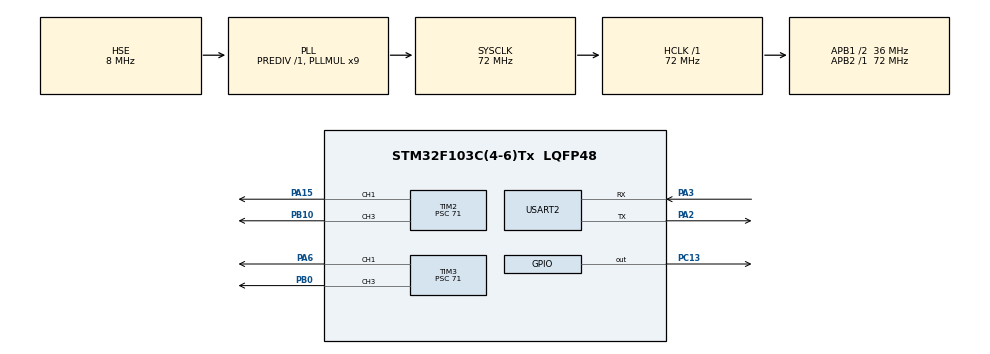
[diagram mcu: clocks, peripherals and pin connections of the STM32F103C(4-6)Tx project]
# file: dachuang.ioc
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Mcu.Family=STM32F1
Mcu.Name=STM32F103C(4-6)Tx
Mcu.Package=LQFP48
NVIC.PriorityGroup=NVIC_PRIORITYGROUP_4
NVIC.USART2_IRQn=true\:0\:0\:false\:false\:true\:true\:true\:true
PA13.Mode=Serial_Wire
PA13.Signal=SYS_JTMS-SWDIO
PA14.Mode=Serial_Wire
PA14.Signal=SYS_JTCK-SWCLK
PA15.Signal=S_TIM2_CH1_ETR
PA2.Mode=Asynchronous
PA2.Signal=USART2_TX
PA3.Mode=Asynchronous
PA3.Signal=USART2_RX
PA6.Signal=S_TIM3_CH1
PB0.Signal=S_TIM3_CH3
PB10.Signal=S_TIM2_CH3
PC13-TAMPER-RTC.Signal=GPIO_Output
PC14-OSC32_IN.Mode=LSE-External-Oscillator
PC14-OSC32_IN.Signal=RCC_OSC32_IN
PC15-OSC32_OUT.Mode=LSE-External-Oscillator
PC15-OSC32_OUT.Signal=RCC_OSC32_OUT
PD0-OSC_IN.Mode=HSE-External-Oscillator
PD0-OSC_IN.Signal=RCC_OSC_IN
PD1-OSC_OUT.Mode=HSE-External-Oscillator
PD1-OSC_OUT.Signal=RCC_OSC_OUT
ProjectManager.HeapSize=0x200
ProjectManager.StackSize=0x400
ProjectManager.TargetToolchain=CMake
RCC.AHBFreq_Value=72000000
RCC.APB1CLKDivider=RCC_HCLK_DIV2
RCC.APB1Freq_Value=36000000
RCC.APB1TimFreq_Value=72000000
RCC.APB2Freq_Value=72000000
RCC.APB2TimFreq_Value=72000000
RCC.HCLKFreq_Value=72000000
RCC.PLLMUL=RCC_PLL_MUL9
RCC.PLLSourceVirtual=RCC_PLLSOURCE_HSE
RCC.SYSCLKFreq_VALUE=72000000
RCC.SYSCLKSource=RCC_SYSCLKSOURCE_PLLCLK
RCC.USBFreq_Value=72000000
SH.S_TIM2_CH1_ETR.0=TIM2_CH1,PWM Generation1 CH1
SH.S_TIM2_CH3.0=TIM2_CH3,PWM Generation3 CH3
SH.S_TIM3_CH1.0=TIM3_CH1,PWM Generation1 CH1
SH.S_TIM3_CH3.0=TIM3_CH3,PWM Generation3 CH3
TIM2.AutoReloadPreload=TIM_AUTORELOAD_PRELOAD_ENABLE
TIM2.Channel-PWM\ Generation1\ CH1=TIM_CHANNEL_1
TIM2.Channel-PWM\ Generation3\ CH3=TIM_CHANNEL_3
TIM2.Period=19999
TIM2.Prescaler=71
TIM3.AutoReloadPreload=TIM_AUTORELOAD_PRELOAD_ENABLE
TIM3.Channel-PWM\ Generation1\ CH1=TIM_CHANNEL_1
TIM3.Channel-PWM\ Generation3\ CH3=TIM_CHANNEL_3
TIM3.Period=19999
TIM3.Prescaler=71
USART2.VirtualMode=VM_ASYNC
VP_TIM2_VS_ClockSourceINT.Mode=Internal
VP_TIM3_VS_ClockSourceINT.Mode=Internal
board=custom

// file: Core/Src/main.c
/* USER CODE BEGIN Header */
/**
  ******************************************************************************
  * @file           : main.c
  * @brief          : Main program body
  ******************************************************************************
  * @attention
  *
  * Copyright (c) 2026 STMicroelectronics.
  * All rights reserved.
  *
  * This software is licensed under terms that can be found in the LICENSE file
  * in the root directory of this software component.
  * If no LICENSE file comes with this software, it is provided AS-IS.
  *
  ******************************************************************************
  */
/* USER CODE END Header */
#include "main.h"
#include "tim.h"
#include "usart.h"
#include "gpio.h"

/* USER CODE BEGIN PV */
volatile uint8_t rx_data;        // 串口接收数据
volatile uint8_t action_flag = 0; // 动作标志，指示主循环需要执行的操作
volatile uint8_t is_busy = 0;    // 忙状态标志：0表示空闲，1表示正在执行动作
/* USER CODE END PV */

void SystemClock_Config(void);

/* USER CODE BEGIN 0 */
/**
  * @brief  UART接收完成回调函数
  * @param  huart: UART句柄
  * @retval None
  */
void HAL_UART_RxCpltCallback(UART_HandleTypeDef *huart)
{
    if(huart->Instance == USART2)
    {
        // 仅在系统空闲时，才处理接收到的有效指令
        if(is_busy == 0)
        {
            if(rx_data == 'A' || rx_data == 'B')
            {
                action_flag = rx_data; // 设置标志位，通知主循环执行相应动作
            }
        }

        // 重新启动接收中断
        HAL_UART_Receive_IT(&huart2, (uint8_t *)&rx_data, 1);
    }
}

/**
  * @brief  UART错误回调函数
  * @param  huart: UART句柄
  * @retval None
  */
void HAL_UART_ErrorCallback(UART_HandleTypeDef *huart)
{
    if(huart->Instance == USART2)
    {
        // 处理任何接收溢出错误（特别是OVR错误标志）
        // 1. 清除错误标志位，防止死锁
        __HAL_UART_CLEAR_OREFLAG(huart);

        // 2. 强制重新启动接收中断，确保通信持续
        HAL_UART_Receive_IT(&huart2, (uint8_t *)&rx_data, 1);
    }
}

/* USER CODE END 0 */

int main(void)
{

  /* MCU Configuration--------------------------------------------------------*/

  /* Reset of all peripherals, Initializes the Flash interface and the Systick. */
  HAL_Init();

  /* Configure the system clock */
  SystemClock_Config();

  /* Initialize all configured peripherals */
  MX_GPIO_Init();
  MX_USART2_UART_Init();
  MX_TIM2_Init();
  MX_TIM3_Init();
  /* USER CODE BEGIN 2 */
  // 启动UART接收中断
  HAL_UART_Receive_IT(&huart2, (uint8_t *)&rx_data, 1);

  // ================= 初始化系统所有PWM通道 =================
  HAL_TIM_PWM_Start(&htim3, TIM_CHANNEL_1); // 0号舵机 (PA6)
  HAL_TIM_PWM_Start(&htim3, TIM_CHANNEL_3); // 2号舵机 (PB0)
  HAL_TIM_PWM_Start(&htim2, TIM_CHANNEL_1); // 4号舵机 (PA15)
  HAL_TIM_PWM_Start(&htim2, TIM_CHANNEL_3); // 6号舵机 (PB10, SG90)

  // ================= 设置所有舵机到中位 =================
  __HAL_TIM_SET_COMPARE(&htim3, TIM_CHANNEL_1, 1500);
  __HAL_TIM_SET_COMPARE(&htim3, TIM_CHANNEL_3, 1500);
  __HAL_TIM_SET_COMPARE(&htim2, TIM_CHANNEL_1, 1500);
  __HAL_TIM_SET_COMPARE(&htim2, TIM_CHANNEL_3, 1500);

  // 强制给所有舵机1.5秒时间，确保它们都能回到初始状态
  HAL_Delay(1500);
  /* USER CODE END 2 */

  /* Infinite loop */
  /* USER CODE BEGIN WHILE */
  while (1)
  {
    // ================= 动作 A：机械臂抓取并自动复位 =================
    if(action_flag == 'A')
    {
        is_busy = 1;  // 设置忙标志，防止在执行当前动作时响应新的指令

        // 1. 机械爪张开，准备抓取 (速度 1800 微秒)
        __HAL_TIM_SET_COMPARE(&htim2, TIM_CHANNEL_3, 1800);
        HAL_Delay(500);

        // 2. 大臂向上转动到1900位置
        __HAL_TIM_SET_COMPARE(&htim3, TIM_CHANNEL_1, 1900);
        HAL_Delay(800);

        // 3. 小臂向下转动到1200位置
        __HAL_TIM_SET_COMPARE(&htim3, TIM_CHANNEL_3, 1200);
        HAL_Delay(800);

        // 4. 手腕向上转动到1800位置，靠近目标
        __HAL_TIM_SET_COMPARE(&htim2, TIM_CHANNEL_1, 1800);
        HAL_Delay(800);

        // 5. 机械爪闭合，抓取物体(速度 1200 微秒，注意此时不要转动)
        __HAL_TIM_SET_COMPARE(&htim2, TIM_CHANNEL_3, 1200);
        HAL_Delay(800); // 给足够时间完成抓取

        // --- 抓取完成，开始自动复位流程 ---

        // 6. 手腕回到中位
        __HAL_TIM_SET_COMPARE(&htim2, TIM_CHANNEL_1, 1500);
        HAL_Delay(800);

        // 7. 小臂回到中位
        __HAL_TIM_SET_COMPARE(&htim3, TIM_CHANNEL_3, 1500);
        HAL_Delay(800);

        // 8. 大臂携带物体回到中位 (1500)
        __HAL_TIM_SET_COMPARE(&htim3, TIM_CHANNEL_1, 1500);
        HAL_Delay(800);

        action_flag = 0; // 清除动作标志
        is_busy = 0;     // 清除忙标志，恢复空闲状态
    }

    // ================= 动作 B：机械臂放置物体并自动复位 =================
    else if(action_flag == 'B')
    {
        is_busy = 1;  // 设置忙标志

        // 1. 大臂向左转动到1100位置（模拟放置区）
        __HAL_TIM_SET_COMPARE(&htim3, TIM_CHANNEL_1, 1100);
        HAL_Delay(800);

        // 2. 小臂向下转动到1200位置
        __HAL_TIM_SET_COMPARE(&htim3, TIM_CHANNEL_3, 1200);
        HAL_Delay(800);

        // 3. 手腕向上转动到1800位置，靠近放置平台
        __HAL_TIM_SET_COMPARE(&htim2, TIM_CHANNEL_1, 1800);
        HAL_Delay(800);

        // 4. 机械爪张开，释放物体(速度 1800 微秒)
        __HAL_TIM_SET_COMPARE(&htim2, TIM_CHANNEL_3, 1800);
        HAL_Delay(800);

        // --- 放置完成，开始自动复位流程 ---

        // 5. 手腕回到中位
        __HAL_TIM_SET_COMPARE(&htim2, TIM_CHANNEL_1, 1500);
        HAL_Delay(800);

        // 6. 小臂回到中位
        __HAL_TIM_SET_COMPARE(&htim3, TIM_CHANNEL_3, 1500);
        HAL_Delay(800);

        // 7. 大臂回到中位 (1500)
        __HAL_TIM_SET_COMPARE(&htim3, TIM_CHANNEL_1, 1500);
        HAL_Delay(800);

        // 8. 机械爪回到安全的中位状态 (1500)
        __HAL_TIM_SET_COMPARE(&htim2, TIM_CHANNEL_3, 1500);
        HAL_Delay(500);

        action_flag = 0; // 清除动作标志
        is_busy = 0;     // 清除忙标志，恢复空闲状态
    }
    /* USER CODE END WHILE */

  }
}

void SystemClock_Config(void)
{
  RCC_OscInitTypeDef RCC_OscInitStruct = {0};
  RCC_ClkInitTypeDef RCC_ClkInitStruct = {0};

  /** Initializes the RCC Oscillators according to the specified parameters
  * in the RCC_OscInitTypeDef structure.
  */
  RCC_OscInitStruct.OscillatorType = RCC_OSCILLATORTYPE_HSE;
  RCC_OscInitStruct.HSEState = RCC_HSE_ON;
  RCC_OscInitStruct.HSEPredivValue = RCC_HSE_PREDIV_DIV1;
  RCC_OscInitStruct.HSIState = RCC_HSI_ON;
  RCC_OscInitStruct.PLL.PLLState = RCC_PLL_ON;
  RCC_OscInitStruct.PLL.PLLSource = RCC_PLLSOURCE_HSE;
  RCC_OscInitStruct.PLL.PLLMUL = RCC_PLL_MUL9;
  if (HAL_RCC_OscConfig(&RCC_OscInitStruct) != HAL_OK)
  {
    Error_Handler();
  }

  /** Initializes the CPU, AHB and APB buses clocks
  */
  RCC_ClkInitStruct.ClockType = RCC_CLOCKTYPE_HCLK|RCC_CLOCKTYPE_SYSCLK
                              |RCC_CLOCKTYPE_PCLK1|RCC_CLOCKTYPE_PCLK2;
  RCC_ClkInitStruct.SYSCLKSource = RCC_SYSCLKSOURCE_PLLCLK;
  RCC_ClkInitStruct.AHBCLKDivider = RCC_SYSCLK_DIV1;
  RCC_ClkInitStruct.APB1CLKDivider = RCC_HCLK_DIV2;
  RCC_ClkInitStruct.APB2CLKDivider = RCC_HCLK_DIV1;

  if (HAL_RCC_ClockConfig(&RCC_ClkInitStruct, FLASH_LATENCY_2) != HAL_OK)
  {
    Error_Handler();
  }
}

void Error_Handler(void)
{
  __disable_irq();
  while (1)
  {
  }
}
